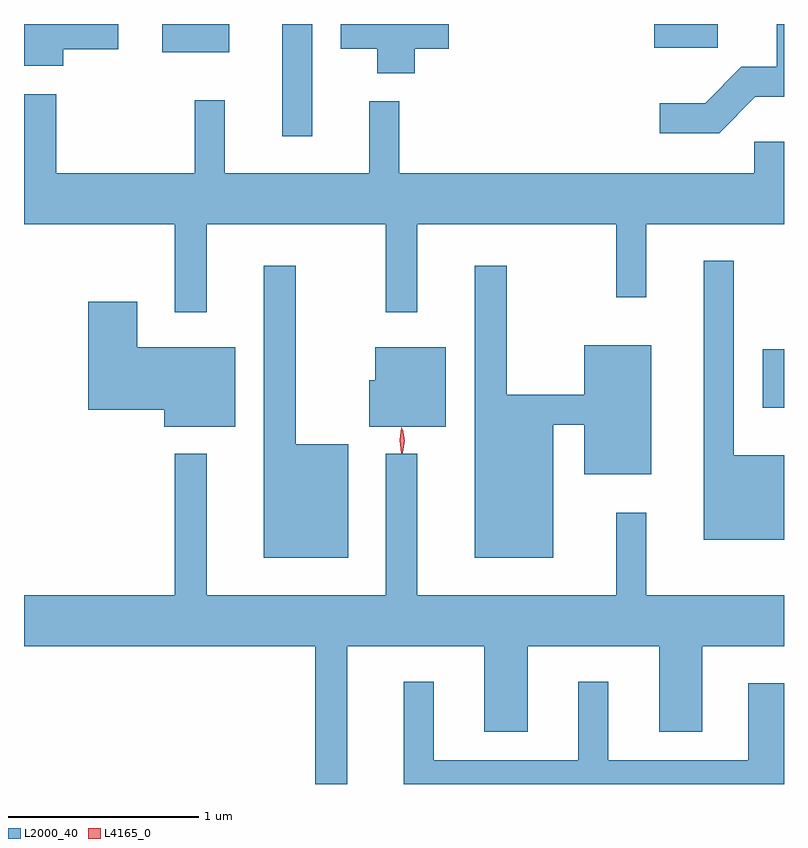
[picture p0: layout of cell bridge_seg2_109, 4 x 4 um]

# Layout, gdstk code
import gdstk
lib = gdstk.Library(unit=1e-6, precision=1e-09)
def R(c, l, rs):  # rectangles x0, y0, x1, y1
    for r in rs: c.add(gdstk.rectangle(r[:2], r[2:], *l))
def P(c, l, *ps):  # polygons
    for p in ps: c.add(gdstk.Polygon(p, *l))
L2000_40 = (2000, 40)
L4165_0 = (4165, 0)

bridge_seg2_109 = lib.new_cell('bridge_seg2_109')
R(bridge_seg2_109, L2000_40, [(919.226,1071.771,919.338,1072.079), (916.696,1073.198,916.854,1073.79), (916.066,1073.641,916.419,1073.79), (918.656,1073.666,918.989,1073.79)])
P(bridge_seg2_109, L2000_40, [(917.394,1073.661),(917.574,1073.661),(917.574,1073.79),(917.006,1073.79),(917.006,1073.661),(917.196,1073.661),(917.196,1073.531),(917.394,1073.531)],
  [(915.544,1073.656),(915.834,1073.656),(915.834,1073.79),(915.338,1073.79),(915.338,1073.571),(915.544,1073.571)],
  [(919.187,1073.406),(919.338,1073.406),(919.338,1073.79),(919.301,1073.79),(919.301,1073.564),(919.114,1073.564),(918.924,1073.374),(918.683,1073.374),(918.683,1073.216),(918.997,1073.216)],
  [(917.409,1072.736),(918.456,1072.736),(918.456,1072.353),(918.614,1072.353),(918.614,1072.736),(919.338,1072.736),(919.338,1073.169),(919.181,1073.169),(919.181,1073.004),(917.314,1073.004),(917.314,1073.383),(917.156,1073.383),(917.156,1073.004),(916.394,1073.004),(916.394,1073.388),(916.236,1073.388),(916.236,1073.004),(915.509,1073.004),(915.509,1073.419),(915.338,1073.419),(915.338,1072.736),(916.131,1072.736),(916.131,1072.273),(916.299,1072.273),(916.299,1072.736),(917.241,1072.736),(917.241,1072.273),(917.409,1072.273)],
  [(919.338,1071.519),(919.074,1071.519),(919.074,1072.543),(918.916,1072.543),(918.916,1071.076),(919.338,1071.076)],
  [(917.044,1071.579),(916.769,1071.579),(916.769,1072.518),(916.601,1072.518),(916.601,1070.981),(917.044,1070.981)],
  [(918.124,1071.681),(918.286,1071.681),(918.286,1071.421),(918.639,1071.421),(918.639,1072.099),(918.286,1072.099),(918.286,1071.839),(917.879,1071.839),(917.879,1072.518),(917.711,1072.518),(917.711,1070.981),(918.124,1070.981)],
  [(916.449,1072.089),(915.934,1072.089),(915.934,1072.329),(915.676,1072.329),(915.676,1071.761),(916.076,1071.761),(916.076,1071.671),(916.449,1071.671)],
  [(917.559,1072.089),(917.186,1072.089),(917.186,1071.914),(917.156,1071.914),(917.156,1071.671),(917.559,1071.671)],
  [(917.039,1070.516),(917.761,1070.516),(917.761,1070.066),(917.989,1070.066),(917.989,1070.516),(918.681,1070.516),(918.681,1070.066),(918.909,1070.066),(918.909,1070.516),(919.338,1070.516),(919.338,1070.784),(918.614,1070.784),(918.614,1071.218),(918.456,1071.218),(918.456,1070.784),(917.409,1070.784),(917.409,1071.528),(917.241,1071.528),(917.241,1070.784),(916.299,1070.784),(916.299,1071.528),(916.131,1071.528),(916.131,1070.784),(915.338,1070.784),(915.338,1070.516),(916.871,1070.516),(916.871,1069.79),(917.039,1069.79)],
  [(919.338,1070.319),(919.151,1070.319),(919.151,1069.914),(918.414,1069.914),(918.414,1070.328),(918.256,1070.328),(918.256,1069.914),(917.494,1069.914),(917.494,1070.328),(917.336,1070.328),(917.336,1069.79),(919.338,1069.79)])
P(bridge_seg2_109, L4165_0, [(917.325,1071.529),(917.324,1071.53),(917.315,1071.598),(917.324,1071.666),(917.325,1071.666),(917.325,1071.666),(917.335,1071.598),(917.325,1071.53)],
  [(917.33,1071.532),(917.33,1071.533),(917.321,1071.597),(917.331,1071.661),(917.332,1071.661),(917.332,1071.661),(917.341,1071.597),(917.331,1071.533)])

lib.write_gds('bridge_seg2_109.gds')
